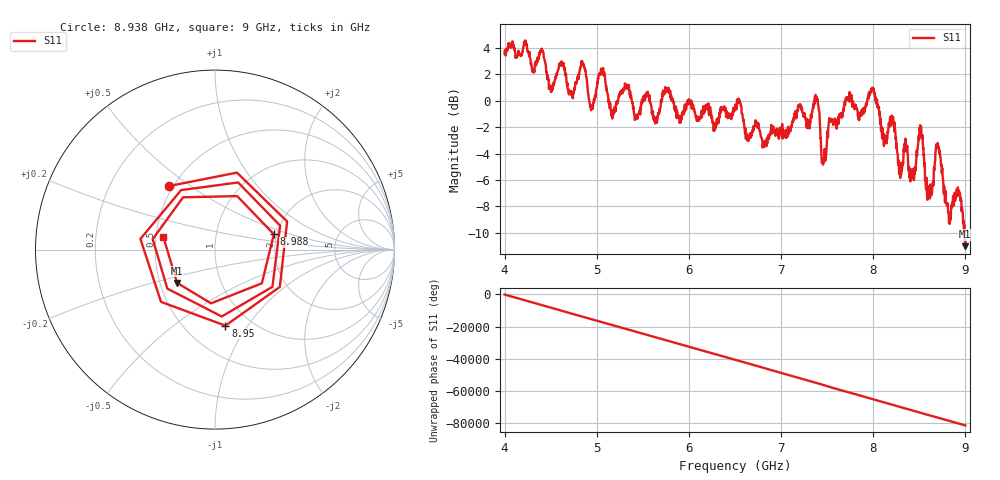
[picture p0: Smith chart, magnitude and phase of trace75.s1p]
! Created with skrf 1.8.0 (http://scikit-rf.org).
# Hz S RI R 50.0
!freq ReS11 ImS11
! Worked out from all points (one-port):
!   1601 points, 4 GHz to 9 GHz, reference 50 ohm
!   lowest |S11| = -11.0 dB at 8.997 GHz (marker M1), VSWR 1.78, Z = 30.7 - j12.3 ohm
!   |S11| at or under -10 dB: 8.991741 GHz to end of sweep
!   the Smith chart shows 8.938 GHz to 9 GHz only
!   S11 on the Smith chart (normalised r, x): 8.938 GHz: 0.48, +0.42; 8.95 GHz: 0.77, -0.79; 8.988 GHz: 1.93, +0.37; 9 GHz: 0.55, +0.08
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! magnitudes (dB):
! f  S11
! 4 GHz  3.6
! 4.506 GHz  0.8
! 4.625 GHz  2.8
! 4.722 GHz  0.7
! 4.853 GHz  2.8
! 4.941 GHz  -0.4
! 5.044 GHz  2.2
! 5.162 GHz  -1.2
! 5.25 GHz  0.6
! 5.875 GHz  -0.9
! 6.5 GHz  -0.7
! 6.819 GHz  -3.3
! 7.125 GHz  -1.5
! 7.384 GHz  0.3
! 7.462 GHz  -4.4
! 7.75 GHz  0.2
! 7.994 GHz  0.9
! 8.375 GHz  -4.1
! 8.428 GHz  -5.5
! 8.512 GHz  -2.1
! 8.591 GHz  -7.2
! 8.7 GHz  -3.2
! 8.816 GHz  -8.5
! 8.938 GHz  -7.2
! 8.95 GHz  -7.4
! 8.988 GHz  -9.4
! 8.997 GHz  -11.0
! 9 GHz  -10.6
